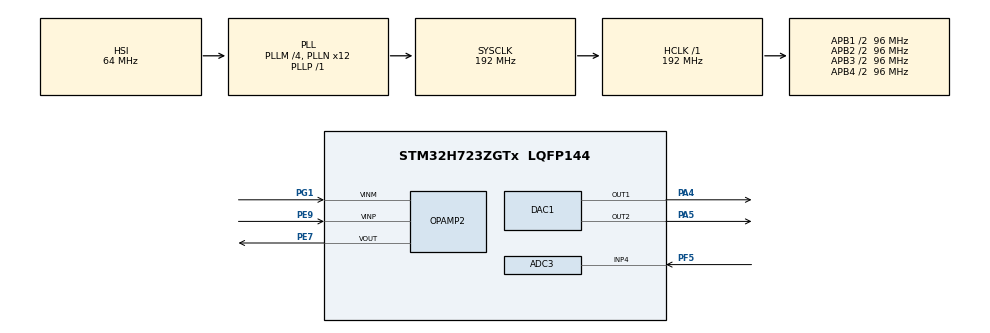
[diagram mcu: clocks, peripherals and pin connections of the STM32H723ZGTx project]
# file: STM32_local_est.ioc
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ADC3.Channel-4\#ChannelRegularConversion=ADC_CHANNEL_4
ADC3.ExternalTrigConv=ADC_EXTERNALTRIG_T6_TRGO
ADC3.NbrOfConversionFlag=1
ADC3.OffsetNumber-4\#ChannelRegularConversion=ADC_OFFSET_NONE
ADC3.OffsetSign-4\#ChannelRegularConversion=ADC3_OFFSET_SIGN_NEGATIVE
ADC3.Rank-4\#ChannelRegularConversion=1
ADC3.SamplingTime-4\#ChannelRegularConversion=ADC3_SAMPLETIME_12CYCLES_5
CORTEX_M7.default_mode_Activation=1
DAC1.DAC2_OutputBuffer-DAC_OUT2=DAC_OUTPUTBUFFER_ENABLE
DAC1.DAC_Channel-DAC_OUT1=DAC_CHANNEL_1
DAC1.DAC_Channel-DAC_OUT2=DAC_CHANNEL_2
Mcu.Family=STM32H7
Mcu.Name=STM32H723ZGTx
Mcu.Package=LQFP144
NUCLEO-H723ZG.BUTTON=1
NUCLEO-H723ZG.Bsp_Common_DEMO=true
NUCLEO-H723ZG.LD1=true
NUCLEO-H723ZG.LD2=true
NUCLEO-H723ZG.LD3=true
NUCLEO-H723ZG.VCP=true
NVIC.ADC3_IRQn=true\:0\:0\:false\:false\:true\:true\:true\:true
NVIC.EXTI15_10_IRQn=true\:0\:0\:false\:false\:true\:false\:true\:true
NVIC.PriorityGroup=NVIC_PRIORITYGROUP_4
NVIC.TIM6_DAC_IRQn=true\:0\:0\:false\:false\:true\:true\:true\:true
PA13(JTMS/SWDIO).GPIO_Label=SWDIO
PA13(JTMS/SWDIO).Signal=DEBUG_JTMS-SWDIO
PA14(JTCK/SWCLK).GPIO_Label=SWCLK
PA14(JTCK/SWCLK).Signal=DEBUG_JTCK-SWCLK
PA4.Signal=COMP_DAC11_group
PA5.Signal=COMP_DAC12_group
PC14-OSC32_IN.Signal=RCC_OSC32_IN
PC15-OSC32_OUT.Signal=RCC_OSC32_OUT
PD8.Signal=USART3_TX
PD9.Signal=USART3_RX
PE7.Mode=Standalone
PE7.Signal=OPAMP2_VOUT
PE9.Mode=Standalone
PE9.Signal=OPAMP2_VINP
PF5.Mode=IN4-Single-Ended
PF5.Signal=ADC3_INP4
PG1.Mode=Standalone
PG1.Signal=OPAMP2_VINM
ProjectManager.HeapSize=0x200
ProjectManager.StackSize=0x400
ProjectManager.TargetToolchain=STM32CubeIDE
RCC.ADCFreq_Value=48000000
RCC.APB1Freq_Value=96000000
RCC.APB2Freq_Value=96000000
RCC.APB3Freq_Value=96000000
RCC.APB4Freq_Value=96000000
RCC.CortexFreq_Value=192000000
RCC.D1PPRE=RCC_APB3_DIV2
RCC.D2PPRE1=RCC_APB1_DIV2
RCC.D2PPRE2=RCC_APB2_DIV2
RCC.D3PPRE=RCC_APB4_DIV2
RCC.DIVM1=4
RCC.DIVM2=4
RCC.DIVN1=12
RCC.DIVN2=12
RCC.DIVP1=1
RCC.DIVP2=4
RCC.DIVQ1=4
RCC.HCLKFreq_Value=192000000
RCC.HSE_VALUE=8000000
RCC.PLL2FRACN=0
RCC.PLLFRACN=0
RCC.SYSCLKFreq_VALUE=192000000
RCC.SYSCLKSource=RCC_SYSCLKSOURCE_PLLCLK
RCC.USBCLockSelection=RCC_USBCLKSOURCE_HSI48
RCC.USBFreq_Value=48000000
SH.COMP_DAC11_group.0=DAC1_OUT1,DAC_OUT1
SH.COMP_DAC12_group.0=DAC1_OUT2,DAC_OUT2
TIM6.Period=10-1
TIM6.Prescaler=192-1
TIM6.TIM_MasterOutputTrigger=TIM_TRGO_UPDATE
VP_MEMORYMAP_VS_MEMORYMAP.Mode=CurAppReg
VP_NUCLEO-H723ZG_VS_BSP_COMMON.Mode=COMMON
VP_TIM6_VS_ClockSourceINT.Mode=Enable_Timer
board=NUCLEO-H723ZG

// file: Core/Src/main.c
/* USER CODE BEGIN Header */
/**
  ******************************************************************************
  * @file           : main.c
  * @brief          : Main program body
  ******************************************************************************
  * @attention
  *
  * Copyright (c) 2026 STMicroelectronics.
  * All rights reserved.
  *
  * This software is licensed under terms that can be found in the LICENSE file
  * in the root directory of this software component.
  * If no LICENSE file comes with this software, it is provided AS-IS.
  *
  ******************************************************************************
  */
/* USER CODE END Header */
#include "main.h"

/* USER CODE BEGIN Includes */
#include <stdint.h>
#include <stdio.h>
#include <math.h>

/* USER CODE END Includes */

/* USER CODE BEGIN PD */
#define TS_CAL1_ADDR  (0x1FF1E820UL)
#define TS_CAL2_ADDR  (0x1FF1E840UL)
/* USER CODE END PD */

COM_InitTypeDef BspCOMInit;
__IO uint32_t BspButtonState = BUTTON_RELEASED;
ADC_HandleTypeDef hadc3;

DAC_HandleTypeDef hdac1;

OPAMP_HandleTypeDef hopamp2;

TIM_HandleTypeDef htim6;

void SystemClock_Config(void);
static void MPU_Config(void);
static void MX_GPIO_Init(void);
static void MX_ADC3_Init(void);
static void MX_TIM6_Init(void);
static void MX_DAC1_Init(void);
static void MX_OPAMP2_Init(void);

/* USER CODE BEGIN 0 */
uint32_t gu_temp = 0;
uint32_t vval = 0;
uint32_t ctrl_input = 0;
float tgtval = 0;

uint32_t t0 = 0;
uint32_t t1 = 0;
uint32_t timcount = 0;

uint8_t timelen = 10; // [us]
uint32_t time_multiple = 5;

volatile uint16_t freq = 100;
volatile float omega = 0.0f;
volatile uint16_t offset = 2048;
volatile uint16_t vref = 2048;
volatile uint8_t USERS_is_run_adc = 0;

void usr_set_DACval(float);
float usr_ADC_volread(void);

/**
 * スケールされているADC測定値を実際の電圧値に戻す
 * 入力は[0, 4095] 実際の電圧値は[-3.3, 3.3]
 */
static inline float usr_ADC_scaler(uint16_t readval){
	return (readval - 2048)*3.3f/2048;
}

static inline float usr_controller(){
	return sinf(omega * timcount);
}

float readval = 0;
float u = 0;
float errors = 0;
float y = 0;

volatile uint8_t usr_bool_simple_output = 0;
volatile float output_voltage = 1.5;

void HAL_ADC_ConvCpltCallback(ADC_HandleTypeDef *hadc){
    if (hadc->Instance == ADC3) {
        uint32_t adc = HAL_ADC_GetValue(&hadc3);

        y = usr_ADC_scaler((uint16_t)adc);
        errors += fabsf(y - u); // compare old u and y
        if (usr_bool_simple_output){
        	u = output_voltage;
        } else {
        	u = usr_controller();
        }

        usr_set_DACval(u);

        timcount++;
    }
}

void HAL_TIM_PeriodElapsedCallback(TIM_HandleTypeDef *htim)
{
/*    if (htim->Instance == TIM6)
    {

    	 * update rate: 100 kHz = 10^5 Hz
    	 * Ts : 10 us
    	 *

    	readval = usr_ADC_volread();
    	errors += fabsf(readval - sval);
    	sval = sinf( omega*timcount);

    	usr_set_DACval(sval);
    	timcount += 1;
    }*/
}

/*
void usr_adc_test(uint16_t ts_cal1, uint16_t ts_cal2){
	HAL_ADC_PollForConversion(&hadc3, 1000);
	gu_temp = HAL_ADC_GetValue(&hadc3);
	int32_t temperature =
	    ((int32_t)gu_temp - (int32_t)ts_cal1) * (130 - 30)
	    / ((int32_t)ts_cal2 - (int32_t)ts_cal1)
	    + 30;

	printf("Temp = %ld degC\r\n", (long)temperature);

}
*/

/**
 * [-3.3, 3.3] の出力電圧値を受け取り、[0, 3.3]にスケール後[0,4095]に量子化しDACに出力
 */
void usr_set_DACval(float volt_val)
{
	float normalval = (volt_val + 3.3f) / 6.6f; // 0.0 =< normalval =< 1.0;
    int32_t code = (int32_t)(normalval * 4096.0f);

    if (code < 0) code = 0;
    if (code > 4095) code = 4095;

    HAL_DAC_SetValue(&hdac1, DAC_CHANNEL_1, DAC_ALIGN_12B_R, (uint32_t)code);
}

/**
 * 遅いので使わない
 */
float usr_ADC_volread(void){
	float dacval = 0;
	HAL_ADC_Start(&hadc3); // adc start
	if (HAL_ADC_PollForConversion(&hadc3, 1000) == HAL_OK ){
		dacval = usr_ADC_scaler((uint16_t)HAL_ADC_GetValue(&hadc3));
	}
	HAL_ADC_Stop(&hadc3);
	return dacval;
}

/**
 * for init and debug
 */
void usr_param_update(){
	omega = 6.2831852f * freq / (float)pow(10, time_multiple);
	HAL_DAC_SetValue(&hdac1, DAC_CHANNEL_2, DAC_ALIGN_12B_R, vref);

}

/* USER CODE END 0 */

int main(void)
{

  /* MPU Configuration--------------------------------------------------------*/
  MPU_Config();

  /* MCU Configuration--------------------------------------------------------*/

  /* Reset of all peripherals, Initializes the Flash interface and the Systick. */
  HAL_Init();

  /* Configure the system clock */
  SystemClock_Config();

  /* Initialize all configured peripherals */
  MX_GPIO_Init();
  MX_ADC3_Init();
  MX_TIM6_Init();
  MX_DAC1_Init();
  MX_OPAMP2_Init();
  /* USER CODE BEGIN 2 */
  HAL_DAC_Start(&hdac1, DAC_CHANNEL_1);
  HAL_DAC_Start(&hdac1, DAC_CHANNEL_2);
  HAL_ADCEx_Calibration_Start(&hadc3, ADC_CALIB_OFFSET, ADC_SINGLE_ENDED);

  usr_param_update();

  HAL_DAC_SetValue(&hdac1, DAC_CHANNEL_1, DAC_ALIGN_12B_R, 1);
  HAL_DAC_SetValue(&hdac1, DAC_CHANNEL_2, DAC_ALIGN_12B_R, vref);

  HAL_ADC_Start_IT(&hadc3);

//  uint16_t ts_cal1 = *(const uint16_t *)TS_CAL1_ADDR;
//  uint16_t ts_cal2 = *(const uint16_t *)TS_CAL2_ADDR;

  /* USER CODE END 2 */

  /* Initialize leds */
  BSP_LED_Init(LED_GREEN);
  BSP_LED_Init(LED_YELLOW);
  BSP_LED_Init(LED_RED);

  /* Initialize USER push-button, will be used to trigger an interrupt each time it's pressed.*/
  BSP_PB_Init(BUTTON_USER, BUTTON_MODE_EXTI);

  /* Initialize COM1 port (115200, 8 bits (7-bit data + 1 stop bit), no parity */
  BspCOMInit.BaudRate   = 115200;
  BspCOMInit.WordLength = COM_WORDLENGTH_8B;
  BspCOMInit.StopBits   = COM_STOPBITS_1;
  BspCOMInit.Parity     = COM_PARITY_NONE;
  BspCOMInit.HwFlowCtl  = COM_HWCONTROL_NONE;
  if (BSP_COM_Init(COM1, &BspCOMInit) != BSP_ERROR_NONE)
  {
    Error_Handler();
  }

  /* USER CODE BEGIN BSP */

  /* -- Sample board code to send message over COM1 port ---- */
  printf("Welcome to STM32 world !\r\n");

  /* -- Sample board code to switch on leds ---- */
  BSP_LED_On(LED_GREEN);
  BSP_LED_On(LED_YELLOW);
  BSP_LED_On(LED_RED);

  /* USER CODE END BSP */

  /* Infinite loop */
  /* USER CODE BEGIN WHILE */

  printf("start_time[ms]:%lu\r\n", HAL_GetTick());

  HAL_TIM_Base_Start_IT(&htim6); //タイマ開始は初期化の最後に

  while (1)
  {
    /* -- Sample board code for User push-button in interrupt mode ---- */
    if (BspButtonState == BUTTON_PRESSED)
    {
      /* Update button state */
      BspButtonState = BUTTON_RELEASED;
      /* -- Sample board code to toggle leds ---- */
      BSP_LED_Toggle(LED_GREEN);
      BSP_LED_Toggle(LED_YELLOW);
      //BSP_LED_Toggle(LED_RED);

      printf("toggled\r\n");
      printf("error:%.6f\r\n", errors);
      printf("u:%.6f\r\n", u);
      printf("y:%.6f\r\n", y);
      usr_param_update();
    }

    /* USER CODE END WHILE */

  }
}

void SystemClock_Config(void)
{
  RCC_OscInitTypeDef RCC_OscInitStruct = {0};
  RCC_ClkInitTypeDef RCC_ClkInitStruct = {0};

  /** Supply configuration update enable
  */
  HAL_PWREx_ConfigSupply(PWR_LDO_SUPPLY);

  /** Configure the main internal regulator output voltage
  */
  __HAL_PWR_VOLTAGESCALING_CONFIG(PWR_REGULATOR_VOLTAGE_SCALE1);

  while(!__HAL_PWR_GET_FLAG(PWR_FLAG_VOSRDY)) {}

  /** Initializes the RCC Oscillators according to the specified parameters
  * in the RCC_OscInitTypeDef structure.
  */
  RCC_OscInitStruct.OscillatorType = RCC_OSCILLATORTYPE_HSI;
  RCC_OscInitStruct.HSIState = RCC_HSI_DIV1;
  RCC_OscInitStruct.HSICalibrationValue = 64;
  RCC_OscInitStruct.PLL.PLLState = RCC_PLL_ON;
  RCC_OscInitStruct.PLL.PLLSource = RCC_PLLSOURCE_HSI;
  RCC_OscInitStruct.PLL.PLLM = 4;
  RCC_OscInitStruct.PLL.PLLN = 12;
  RCC_OscInitStruct.PLL.PLLP = 1;
  RCC_OscInitStruct.PLL.PLLQ = 4;
  RCC_OscInitStruct.PLL.PLLR = 2;
  RCC_OscInitStruct.PLL.PLLRGE = RCC_PLL1VCIRANGE_3;
  RCC_OscInitStruct.PLL.PLLVCOSEL = RCC_PLL1VCOWIDE;
  RCC_OscInitStruct.PLL.PLLFRACN = 0;
  if (HAL_RCC_OscConfig(&RCC_OscInitStruct) != HAL_OK)
  {
    Error_Handler();
  }

  /** Initializes the CPU, AHB and APB buses clocks
  */
  RCC_ClkInitStruct.ClockType = RCC_CLOCKTYPE_HCLK|RCC_CLOCKTYPE_SYSCLK
                              |RCC_CLOCKTYPE_PCLK1|RCC_CLOCKTYPE_PCLK2
                              |RCC_CLOCKTYPE_D3PCLK1|RCC_CLOCKTYPE_D1PCLK1;
  RCC_ClkInitStruct.SYSCLKSource = RCC_SYSCLKSOURCE_PLLCLK;
  RCC_ClkInitStruct.SYSCLKDivider = RCC_SYSCLK_DIV1;
  RCC_ClkInitStruct.AHBCLKDivider = RCC_HCLK_DIV1;
  RCC_ClkInitStruct.APB3CLKDivider = RCC_APB3_DIV2;
  RCC_ClkInitStruct.APB1CLKDivider = RCC_APB1_DIV2;
  RCC_ClkInitStruct.APB2CLKDivider = RCC_APB2_DIV2;
  RCC_ClkInitStruct.APB4CLKDivider = RCC_APB4_DIV2;

  if (HAL_RCC_ClockConfig(&RCC_ClkInitStruct, FLASH_LATENCY_2) != HAL_OK)
  {
    Error_Handler();
  }
}

static void MX_ADC3_Init(void)
{

  ADC_ChannelConfTypeDef sConfig = {0};

  /** Common config
  */
  hadc3.Instance = ADC3;
  hadc3.Init.ClockPrescaler = ADC_CLOCK_ASYNC_DIV1;
  hadc3.Init.Resolution = ADC_RESOLUTION_12B;
  hadc3.Init.DataAlign = ADC3_DATAALIGN_RIGHT;
  hadc3.Init.ScanConvMode = ADC_SCAN_DISABLE;
  hadc3.Init.EOCSelection = ADC_EOC_SINGLE_CONV;
  hadc3.Init.LowPowerAutoWait = DISABLE;
  hadc3.Init.ContinuousConvMode = DISABLE;
  hadc3.Init.NbrOfConversion = 1;
  hadc3.Init.DiscontinuousConvMode = DISABLE;
  hadc3.Init.ExternalTrigConv = ADC_EXTERNALTRIG_T6_TRGO;
  hadc3.Init.ExternalTrigConvEdge = ADC_EXTERNALTRIGCONVEDGE_RISING;
  hadc3.Init.DMAContinuousRequests = DISABLE;
  hadc3.Init.SamplingMode = ADC_SAMPLING_MODE_NORMAL;
  hadc3.Init.ConversionDataManagement = ADC_CONVERSIONDATA_DR;
  hadc3.Init.Overrun = ADC_OVR_DATA_PRESERVED;
  hadc3.Init.LeftBitShift = ADC_LEFTBITSHIFT_NONE;
  hadc3.Init.OversamplingMode = DISABLE;
  hadc3.Init.Oversampling.Ratio = ADC3_OVERSAMPLING_RATIO_2;
  if (HAL_ADC_Init(&hadc3) != HAL_OK)
  {
    Error_Handler();
  }

  /** Configure Regular Channel
  */
  sConfig.Channel = ADC_CHANNEL_4;
  sConfig.Rank = ADC_REGULAR_RANK_1;
  sConfig.SamplingTime = ADC3_SAMPLETIME_12CYCLES_5;
  sConfig.SingleDiff = ADC_SINGLE_ENDED;
  sConfig.OffsetNumber = ADC_OFFSET_NONE;
  sConfig.Offset = 0;
  sConfig.OffsetSign = ADC3_OFFSET_SIGN_NEGATIVE;
  if (HAL_ADC_ConfigChannel(&hadc3, &sConfig) != HAL_OK)
  {
    Error_Handler();
  }

}

static void MX_DAC1_Init(void)
{

  DAC_ChannelConfTypeDef sConfig = {0};

  /** DAC Initialization
  */
  hdac1.Instance = DAC1;
  if (HAL_DAC_Init(&hdac1) != HAL_OK)
  {
    Error_Handler();
  }

  /** DAC channel OUT1 config
  */
  sConfig.DAC_SampleAndHold = DAC_SAMPLEANDHOLD_DISABLE;
  sConfig.DAC_Trigger = DAC_TRIGGER_NONE;
  sConfig.DAC_OutputBuffer = DAC_OUTPUTBUFFER_ENABLE;
  sConfig.DAC_ConnectOnChipPeripheral = DAC_CHIPCONNECT_DISABLE;
  sConfig.DAC_UserTrimming = DAC_TRIMMING_FACTORY;
  if (HAL_DAC_ConfigChannel(&hdac1, &sConfig, DAC_CHANNEL_1) != HAL_OK)
  {
    Error_Handler();
  }

  /** DAC channel OUT2 config
  */
  if (HAL_DAC_ConfigChannel(&hdac1, &sConfig, DAC_CHANNEL_2) != HAL_OK)
  {
    Error_Handler();
  }

}

static void MX_OPAMP2_Init(void)
{

  hopamp2.Instance = OPAMP2;
  hopamp2.Init.Mode = OPAMP_STANDALONE_MODE;
  hopamp2.Init.PowerMode = OPAMP_POWERMODE_NORMAL;
  hopamp2.Init.UserTrimming = OPAMP_TRIMMING_FACTORY;
  if (HAL_OPAMP_Init(&hopamp2) != HAL_OK)
  {
    Error_Handler();
  }

}

static void MX_TIM6_Init(void)
{

  TIM_MasterConfigTypeDef sMasterConfig = {0};

  htim6.Instance = TIM6;
  htim6.Init.Prescaler = 192-1;
  htim6.Init.CounterMode = TIM_COUNTERMODE_UP;
  htim6.Init.Period = 10-1;
  htim6.Init.AutoReloadPreload = TIM_AUTORELOAD_PRELOAD_DISABLE;
  if (HAL_TIM_Base_Init(&htim6) != HAL_OK)
  {
    Error_Handler();
  }
  sMasterConfig.MasterOutputTrigger = TIM_TRGO_UPDATE;
  sMasterConfig.MasterSlaveMode = TIM_MASTERSLAVEMODE_DISABLE;
  if (HAL_TIMEx_MasterConfigSynchronization(&htim6, &sMasterConfig) != HAL_OK)
  {
    Error_Handler();
  }

}

static void MX_GPIO_Init(void)
{

  /* GPIO Ports Clock Enable */
  __HAL_RCC_GPIOC_CLK_ENABLE();
  __HAL_RCC_GPIOF_CLK_ENABLE();
  __HAL_RCC_GPIOA_CLK_ENABLE();
  __HAL_RCC_GPIOG_CLK_ENABLE();
  __HAL_RCC_GPIOE_CLK_ENABLE();

}

 /* MPU Configuration */

void MPU_Config(void)
{
  MPU_Region_InitTypeDef MPU_InitStruct = {0};

  /* Disables the MPU */
  HAL_MPU_Disable();

  /** Initializes and configures the Region and the memory to be protected
  */
  MPU_InitStruct.Enable = MPU_REGION_ENABLE;
  MPU_InitStruct.Number = MPU_REGION_NUMBER0;
  MPU_InitStruct.BaseAddress = 0x0;
  MPU_InitStruct.Size = MPU_REGION_SIZE_4GB;
  MPU_InitStruct.SubRegionDisable = 0x87;
  MPU_InitStruct.TypeExtField = MPU_TEX_LEVEL0;
  MPU_InitStruct.AccessPermission = MPU_REGION_NO_ACCESS;
  MPU_InitStruct.DisableExec = MPU_INSTRUCTION_ACCESS_DISABLE;
  MPU_InitStruct.IsShareable = MPU_ACCESS_SHAREABLE;
  MPU_InitStruct.IsCacheable = MPU_ACCESS_NOT_CACHEABLE;
  MPU_InitStruct.IsBufferable = MPU_ACCESS_NOT_BUFFERABLE;

  HAL_MPU_ConfigRegion(&MPU_InitStruct);
  /* Enables the MPU */
  HAL_MPU_Enable(MPU_PRIVILEGED_DEFAULT);

}

/**
  * @brief BSP Push Button callback
  * @param Button Specifies the pressed button
  * @retval None
  */
void BSP_PB_Callback(Button_TypeDef Button)
{
  if (Button == BUTTON_USER)
  {
    BspButtonState = BUTTON_PRESSED;
  }
}

void Error_Handler(void)
{
  __disable_irq();
  while (1)
  {
  }
}
